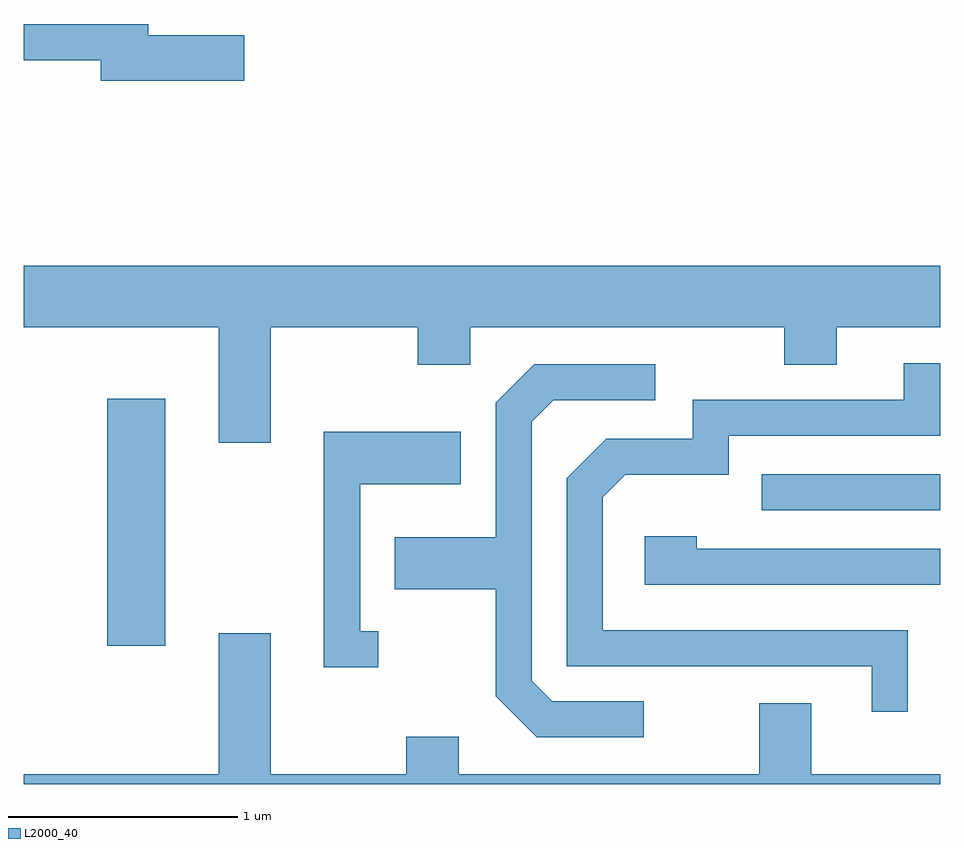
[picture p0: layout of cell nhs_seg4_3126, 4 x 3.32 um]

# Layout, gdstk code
import gdstk
lib = gdstk.Library(unit=1e-6, precision=1e-09)
def R(c, l, rs):  # rectangles x0, y0, x1, y1
    for r in rs: c.add(gdstk.rectangle(r[:2], r[2:], *l))
def P(c, l, *ps):  # polygons
    for p in ps: c.add(gdstk.Polygon(p, *l))
L2000_40 = (2000, 40)

nhs_seg4_3126 = lib.new_cell('nhs_seg4_3126')
R(nhs_seg4_3126, L2000_40, [(275.976,1386.586,276.229,1387.664), (278.833,1387.176,279.611,1387.334)])
P(nhs_seg4_3126, L2000_40, [(276.574,1389.249),(276.154,1389.249),(276.154,1389.299),(275.611,1389.299),(275.611,1389.141),(275.946,1389.141),(275.946,1389.051),(276.574,1389.051)],
  [(276.689,1387.976),(277.331,1387.976),(277.331,1387.811),(277.559,1387.811),(277.559,1387.976),(278.931,1387.976),(278.931,1387.811),(279.159,1387.811),(279.159,1387.976),(279.611,1387.976),(279.611,1388.244),(275.611,1388.244),(275.611,1387.976),(276.461,1387.976),(276.461,1387.471),(276.689,1387.471)],
  [(279.469,1386.654),(278.139,1386.654),(278.139,1387.234),(278.237,1387.331),(278.689,1387.331),(278.689,1387.501),(279.611,1387.501),(279.611,1387.819),(279.451,1387.819),(279.451,1387.659),(278.531,1387.659),(278.531,1387.489),(278.154,1387.489),(277.981,1387.317),(277.981,1386.496),(279.311,1386.496),(279.311,1386.298),(279.469,1386.298)],
  [(278.318,1386.344),(277.917,1386.344),(277.829,1386.432),(277.829,1387.564),(277.922,1387.656),(278.368,1387.656),(278.368,1387.814),(277.839,1387.814),(277.671,1387.647),(277.671,1387.059),(277.231,1387.059),(277.231,1386.831),(277.671,1386.831),(277.671,1386.364),(277.849,1386.186),(278.318,1386.186)],
  [(277.158,1386.649),(277.079,1386.649),(277.079,1387.291),(277.519,1387.291),(277.519,1387.519),(276.921,1387.519),(276.921,1386.491),(277.158,1386.491)],
  [(279.611,1387.009),(278.549,1387.009),(278.549,1387.064),(278.321,1387.064),(278.321,1386.851),(279.611,1386.851)],
  [(279.611,1386.024),(279.049,1386.024),(279.049,1386.334),(278.821,1386.334),(278.821,1386.024),(277.509,1386.024),(277.509,1386.189),(277.281,1386.189),(277.281,1386.024),(276.689,1386.024),(276.689,1386.639),(276.461,1386.639),(276.461,1386.024),(275.611,1386.024),(275.611,1385.982),(279.611,1385.982)])

lib.write_gds('nhs_seg4_3126.gds')
